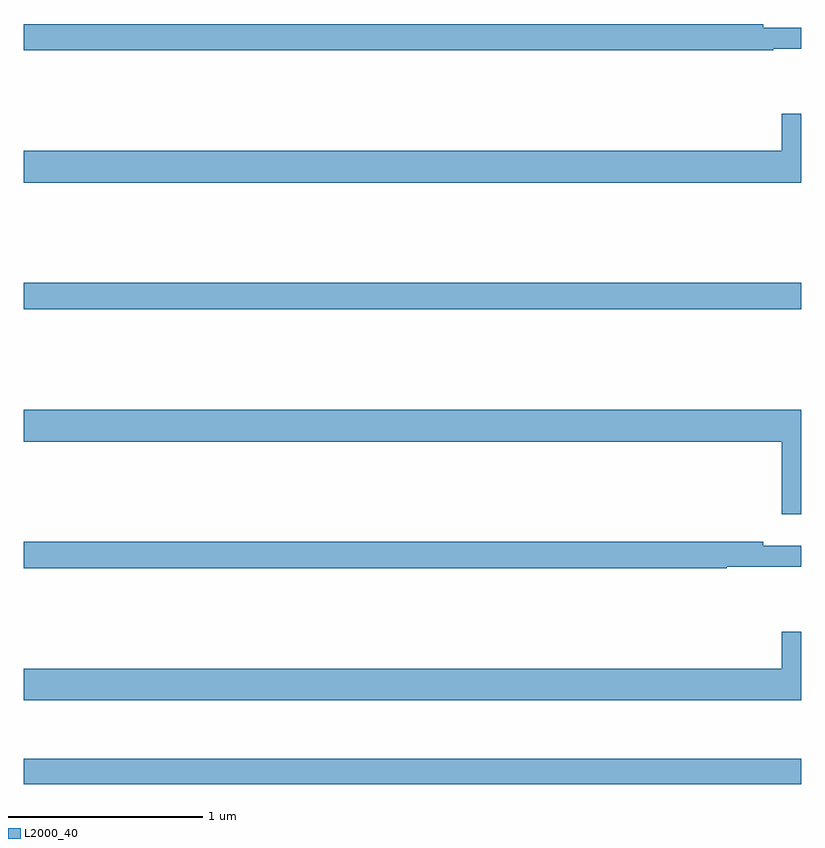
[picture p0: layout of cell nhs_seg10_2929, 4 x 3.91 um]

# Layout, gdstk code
import gdstk
lib = gdstk.Library(unit=1e-6, precision=1e-09)
def R(c, l, rs):  # rectangles x0, y0, x1, y1
    for r in rs: c.add(gdstk.rectangle(r[:2], r[2:], *l))
def P(c, l, *ps):  # polygons
    for p in ps: c.add(gdstk.Polygon(p, *l))
L2000_40 = (2000, 40)

nhs_seg10_2929 = lib.new_cell('nhs_seg10_2929')
R(nhs_seg10_2929, L2000_40, [(269,1322.53,273,1322.659), (269,1324.972,273,1325.108)])
P(nhs_seg10_2929, L2000_40, [(272.855,1326.312),(273,1326.312),(273,1326.421),(272.804,1326.421),(272.804,1326.44),(269,1326.44),(269,1326.304),(272.855,1326.304)],
  [(273,1325.977),(272.9,1325.977),(272.9,1325.788),(269,1325.788),(269,1325.624),(273,1325.624)],
  [(273,1324.456),(269,1324.456),(269,1324.292),(272.9,1324.292),(272.9,1323.918),(273,1323.918)],
  [(272.618,1323.648),(273,1323.648),(273,1323.757),(272.804,1323.757),(272.804,1323.776),(269,1323.776),(269,1323.64),(272.618,1323.64)],
  [(273,1323.313),(272.9,1323.313),(272.9,1323.124),(269,1323.124),(269,1322.96),(273,1322.96)])

lib.write_gds('nhs_seg10_2929.gds')
